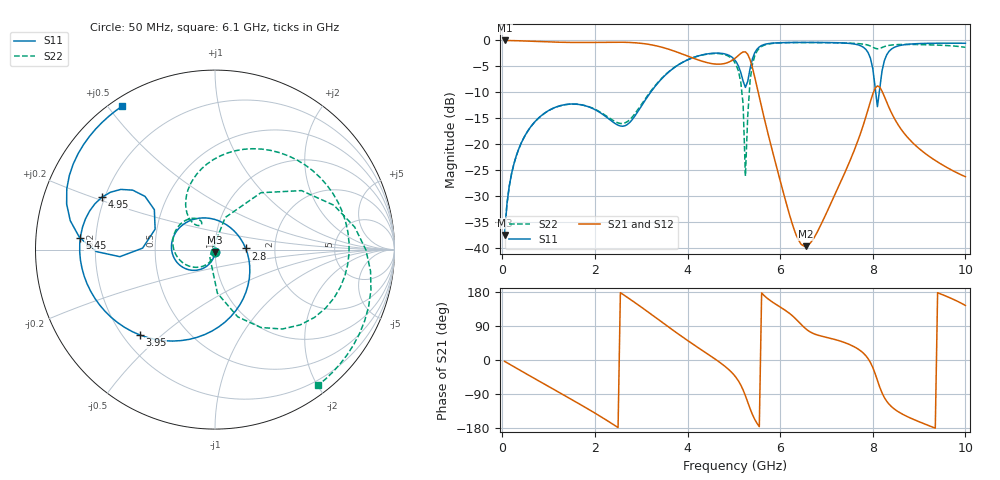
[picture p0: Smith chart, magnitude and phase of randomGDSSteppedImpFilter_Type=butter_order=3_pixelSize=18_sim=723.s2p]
! freq	dB(S11)	phase(S11)	dB(S12)	phase(S12)
!  dB(S21)	phase(S21)	dB(S22)	phase(S22)
!S-par simulation data
#  GHz  S  DB  R 50
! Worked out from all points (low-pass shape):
!   200 points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, 50 MHz to 10 GHz, reference 50 ohm
!   highest |S21| = -0.01 dB at 50 MHz (marker M1); lowest = -39.6 dB at 6.55 GHz (marker M2)
!   |S21| within 3 dB of the highest: start of sweep to 4 GHz; 5.084 GHz to 5.316 GHz (232.3 MHz wide, 4.47 % of centre)
!   lowest |S11| = -37.5 dB at 50 MHz (marker M3), VSWR 1.03, Z = 50 - j1.33 ohm
!   |S11| at or under -10 dB: start of sweep to 3.203 GHz; 8.064 GHz to 8.141 GHz (77.61 MHz wide, 0.958 % of centre)
!   |S22| runs from -37.5 to -0.4 dB; largest |S21 - S12| = 0
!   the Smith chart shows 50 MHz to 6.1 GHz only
!   S11 on the Smith chart (normalised r, x): 50 MHz: 1.00, -0.03; 2.8 GHz: 1.41, +0.02; 3.95 GHz: 0.27, -0.42; 4.95 GHz: 0.19, +0.21; 5.45 GHz: 0.14, +0.04; 6.1 GHz: 0.03, +0.54
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0.05  -37.49 -89.0  -0.01 -3.6  -0.01 -3.6  -37.52 -89.7
0.5  -18.19 -122.2  -0.12 -35.2  -0.12 -35.2  -18.22 -129.0
1.75  -12.50 154.1  -0.41 -122.0  -0.41 -122.0  -12.49 141.2
2.8  -15.33 2.1  -0.42 157.0  -0.42 157.0  -14.84 128.8
3.4  -7.80 -82.1  -1.21 104.1  -1.21 104.1  -7.70 107.0
3.95  -3.96 -131.4  -2.84 55.8  -2.84 55.8  -3.96 60.6
4.55  -2.48 -175.6  -4.51 6.3  -4.51 6.3  -2.54 7.6
4.95  -3.16 155.2  -3.93 -32.3  -3.93 -32.3  -3.47 -34.3
5.05  -4.11 147.4  -3.28 -46.5  -3.28 -46.5  -4.73 -49.7
5.2  -7.86 146.6  -2.22 -79.0  -2.22 -79.0  -12.26 -86.8
5.25  -9.06 161.2  -2.22 -94.3  -2.22 -94.3  -26.14 -126.7
5.35  -5.49 -175.7  -3.71 -128.1  -3.71 -128.1  -7.80 51.1
5.45  -2.41 174.9  -7.04 -156.4  -7.04 -156.4  -3.01 20.4
6.1  -0.43 122.9  -30.33 132.0  -30.33 132.0  -0.45 -52.7
6.55  -0.39 99.5  -39.65 82.8  -39.65 82.8  -0.42 -77.9
6.7  -0.39 92.1  -38.46 70.8  -38.46 70.8  -0.42 -85.3
7.8  -1.34 17.8  -16.19 17.7  -16.19 17.7  -0.73 -135.4
8.05  -8.97 -68.3  -9.25 -35.7  -9.25 -35.7  -1.52 -145.2
8.15  -9.40 154.2  -9.00 -71.5  -9.00 -71.5  -1.56 -145.4
8.35  -2.12 78.0  -12.93 -116.3  -12.93 -116.3  -0.96 -152.6
8.9  -0.66 30.1  -20.06 -157.8  -20.06 -157.8  -0.79 -179.3
10  -0.55 -14.8  -26.26 143.9  -26.26 143.9  -1.34 112.4
